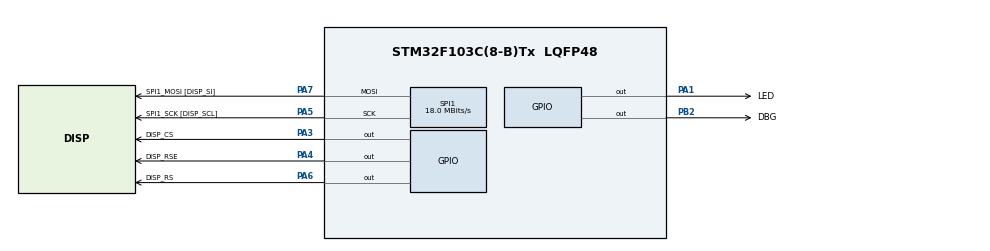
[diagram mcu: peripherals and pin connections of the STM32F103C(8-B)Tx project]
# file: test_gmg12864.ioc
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Mcu.Family=STM32F1
Mcu.Name=STM32F103C(8-B)Tx
Mcu.Package=LQFP48
NVIC.PriorityGroup=NVIC_PRIORITYGROUP_4
PA1.GPIO_Label=LED
PA1.Signal=GPIO_Output
PA13.Mode=Serial_Wire
PA13.Signal=SYS_JTMS-SWDIO
PA14.Mode=Serial_Wire
PA14.Signal=SYS_JTCK-SWCLK
PA3.GPIO_Label=DISP_CS
PA3.Signal=GPIO_Output
PA4.GPIO_Label=DISP_RSE
PA4.Signal=GPIO_Output
PA5.GPIO_Label=SPI1_SCK [DISP_SCL]
PA5.Mode=TX_Only_Simplex_Unidirect_Master
PA5.Signal=SPI1_SCK
PA6.GPIO_Label=DISP_RS
PA6.Signal=GPIO_Output
PA7.GPIO_Label=SPI1_MOSI [DISP_SI]
PA7.Mode=TX_Only_Simplex_Unidirect_Master
PA7.Signal=SPI1_MOSI
PB2.GPIO_Label=DBG
PB2.Signal=GPIO_Output
PD0-OSC_IN.Mode=HSE-External-Oscillator
PD0-OSC_IN.Signal=RCC_OSC_IN
PD1-OSC_OUT.Mode=HSE-External-Oscillator
PD1-OSC_OUT.Signal=RCC_OSC_OUT
ProjectManager.HeapSize=0x200
ProjectManager.StackSize=0x400
ProjectManager.TargetToolchain=Makefile
RCC.AHBFreq_Value=72000000
RCC.APB1CLKDivider=RCC_HCLK_DIV2
RCC.APB1Freq_Value=36000000
RCC.APB1TimFreq_Value=72000000
RCC.APB2Freq_Value=72000000
RCC.APB2TimFreq_Value=72000000
RCC.HCLKFreq_Value=72000000
RCC.PLLMUL=RCC_PLL_MUL9
RCC.PLLSourceVirtual=RCC_PLLSOURCE_HSE
RCC.SYSCLKFreq_VALUE=72000000
RCC.SYSCLKSource=RCC_SYSCLKSOURCE_PLLCLK
RCC.USBFreq_Value=72000000
SPI1.BaudRatePrescaler=SPI_BAUDRATEPRESCALER_4
SPI1.CalculateBaudRate=18.0 MBits/s
SPI1.Direction=SPI_DIRECTION_2LINES
SPI1.Mode=SPI_MODE_MASTER
SPI1.VirtualType=VM_MASTER
TIM1.Period=65535
TIM1.Prescaler=71
VP_TIM1_VS_ClockSourceINT.Mode=Internal
board=custom

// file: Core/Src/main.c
/* USER CODE BEGIN Header */
/**
  ******************************************************************************
  * @file           : main.c
  * @brief          : Main program body
  ******************************************************************************
  * @attention
  *
  * Copyright (c) 2022 STMicroelectronics.
  * All rights reserved.
  *
  * This software is licensed under terms that can be found in the LICENSE file
  * in the root directory of this software component.
  * If no LICENSE file comes with this software, it is provided AS-IS.
  *
  ******************************************************************************
  */
/* USER CODE END Header */
#include "main.h"
#include "spi.h"
#include "tim.h"
#include "gpio.h"

/* USER CODE BEGIN Includes */
#include <stdio.h>
#include <stdlib.h>
#include <stdbool.h>
#include <string.h>

#include "display_gmg12864.h"
#include "lvgl.h"

/* USER CODE END Includes */

/* USER CODE BEGIN PD */
#define BIT_SET(a,b) ((a) |= (1U<<(b)))
#define BIT_CLEAR(a,b) ((a) &= ~(1U<<(b)))
#define MAX(X,Y) ((X)>(Y)?(X):(Y))
#define MIN(X,Y) ((X)<(Y)?(X):(Y))
#define ARRAY_SIZE(X) (sizeof(X)/sizeof(X[0]))

LV_IMG_DECLARE(logo_lvgl)
LV_IMG_DECLARE(ezgif)

#define LL_GPIO_WriteOutputPin(PORT,PIN,VALUE) do{if(VALUE) LL_GPIO_SetOutputPin(PORT,PIN); else LL_GPIO_ResetOutputPin(PORT,PIN);}while(0)
/* USER CODE END PD */

void SystemClock_Config(void);
/* USER CODE BEGIN PFP */
uint32_t timer_global_1ms = 0;
static uint8_t disp_bfr[DISP_WIDTH * DISP_HEIGHT / 8];

uint32_t timer_period_delta(uint32_t *timer, uint32_t period_ms)
{
  uint32_t timer_1ms = timer_global_1ms;
  uint32_t delta = (timer_1ms - *timer);
  if (delta >= period_ms)
  {
    *timer = timer_1ms;
    return delta;
  }
  return 0;
}
uint16_t timer_us_reset(void)
{
  uint16_t result = TIM1->CNT;
  TIM1->CNT = 0;
  return result;
}

static void disp_write_spi_cb(uint8_t * bfr, uint16_t length)
{
  LL_GPIO_ResetOutputPin(DISP_CS_GPIO_Port, DISP_CS_Pin);
  while (length--)
  {
    while (LL_SPI_IsActiveFlag_BSY(SPI1));
    LL_SPI_TransmitData8(SPI1, *bfr++);
  }
  while (LL_SPI_IsActiveFlag_BSY(SPI1));
  LL_GPIO_SetOutputPin(DISP_CS_GPIO_Port, DISP_CS_Pin);
}

static void disp_set_pin_cb(display_gmg12864_pins_t * pins)
{
  LL_GPIO_WriteOutputPin(DISP_RSE_GPIO_Port, DISP_RSE_Pin, pins->pin_reset ? 1 : 0 );
  LL_GPIO_WriteOutputPin(DISP_RS_GPIO_Port, DISP_RS_Pin, pins->pin_data_cmd ? 1 : 0 );
}

void disp_draw_pixel(uint8_t x, uint8_t y, uint8_t color)
{
  uint8_t *byte = &disp_bfr[(x % DISP_WIDTH) + (y % DISP_HEIGHT)/8*DISP_WIDTH];
  if (color)
    *byte |= 1 << (y&7);
  else
    *byte &= ~(1 << (y&7));
}

/* USER CODE END PFP */

/* USER CODE BEGIN 0 */

/* Display flushing */
void my_disp_flush_cb( struct _lv_disp_drv_t * disp_drv, const lv_area_t * area, lv_color_t * color_p)
{
  for(uint8_t y = area->y1; y <= area->y2; y++)
      for(uint8_t x = area->x1; x <= area->x2; x++)
          disp_draw_pixel(x, y, *(uint8_t*)color_p++);

  /* Inform the graphics library that you are ready with the flushing*/
  lv_disp_flush_ready( disp_drv );
}

void lvgl_init(void)
{
  lv_init();

  /*A static or global variable to store the buffers*/
  static lv_disp_draw_buf_t disp_buf;

  /*Static or global buffer(s). The second buffer is optional*/
  static lv_color_t buf_1[DISP_WIDTH * DISP_HEIGHT / 4];

  lv_disp_draw_buf_init(&disp_buf, buf_1, NULL, ARRAY_SIZE(buf_1));

  static lv_disp_drv_t disp_drv;        /*A variable to hold the drivers. Must be static or global.*/
  lv_disp_drv_init(&disp_drv);          /*Basic initialization*/
  disp_drv.draw_buf = &disp_buf;        /*Set an initialized buffer*/
  disp_drv.flush_cb = my_disp_flush_cb; /*Set a flush callback to draw to the display*/
  disp_drv.hor_res = DISP_WIDTH;        /*Set the horizontal resolution in pixels*/
  disp_drv.ver_res = DISP_HEIGHT;       /*Set the vertical resolution in pixels*/

  lv_disp_t * disp;
  disp = lv_disp_drv_register(&disp_drv); /*Register the driver and save the created display objects*/
  (void)disp;
}
/* USER CODE END 0 */

int main(void)
{

  /* MCU Configuration--------------------------------------------------------*/

  /* Reset of all peripherals, Initializes the Flash interface and the Systick. */
  LL_APB2_GRP1_EnableClock(LL_APB2_GRP1_PERIPH_AFIO);
  LL_APB1_GRP1_EnableClock(LL_APB1_GRP1_PERIPH_PWR);

  /* System interrupt init*/
  NVIC_SetPriorityGrouping(NVIC_PRIORITYGROUP_4);

  /* SysTick_IRQn interrupt configuration */
  NVIC_SetPriority(SysTick_IRQn, NVIC_EncodePriority(NVIC_GetPriorityGrouping(),15, 0));

  /** NOJTAG: JTAG-DP Disabled and SW-DP Enabled
  */
  LL_GPIO_AF_Remap_SWJ_NOJTAG();

  /* Configure the system clock */
  SystemClock_Config();

  /* USER CODE BEGIN SysInit */
  LL_SYSTICK_EnableIT();
  /* USER CODE END SysInit */

  /* Initialize all configured peripherals */
  MX_GPIO_Init();
  MX_SPI1_Init();
  MX_TIM1_Init();
  /* USER CODE BEGIN 2 */
  LL_SPI_Enable(SPI1);
  // timer 1us
  uint16_t pre = (SystemCoreClock / 1000000UL)-1;
  LL_TIM_SetPrescaler(TIM1, pre);
  LL_TIM_EnableCounter(TIM1);

  // init graphic-driver
  lvgl_init();

  // init display-driver
  static display_gmg12864_t disp_drv = {
    .delay_ms_cb = LL_mDelay,
    .write_spi_cb = disp_write_spi_cb,
    .set_display_pin_cb = disp_set_pin_cb,
    .bfr = disp_bfr,
    .bfr_size = sizeof(disp_bfr)
  };
  display_gmg12864_init(&disp_drv);
  /* USER CODE END 2 */

  /* Infinite loop */
  /* USER CODE BEGIN WHILE */
  uint32_t tmr_led=0, tmr_lvgl=0, tmr_1s=0;
  short tmr_max=0, tmr_maxt=0;
  short pos_x=0, dx=3;

  lv_obj_t *label, *img1, *gif1;
  label = lv_label_create(lv_scr_act());
  lv_obj_align(label, LV_ALIGN_TOP_LEFT, 3, 3);

  img1 = lv_img_create(lv_scr_act());
  lv_img_set_src(img1, &logo_lvgl);
  lv_obj_align(img1, LV_ALIGN_CENTER, 0, 0);

  gif1 = lv_gif_create(lv_scr_act());
  lv_gif_set_src(gif1, &ezgif);
  lv_obj_align(gif1, LV_ALIGN_LEFT_MID, 2, 0);

  while (1)
  {
    short tmr = timer_us_reset();
    tmr_maxt = MAX(tmr_maxt, tmr);

    lv_tick_inc(timer_period_delta(&tmr_lvgl, 10));
    lv_task_handler();
    display_gmg12864_print(); // ~700us

    if (timer_period_delta(&tmr_led, 200))
    {
      LL_GPIO_TogglePin(LED_GPIO_Port, LED_Pin);

      // update label-text
      lv_label_set_text_fmt(label, "max=%dus", tmr_max);

      // move box
      pos_x += dx;
      if (pos_x < -5 || pos_x > 30) dx = -dx;

      lv_obj_set_pos(img1, pos_x, 0);
    }

    if (timer_period_delta(&tmr_1s, 1000))
    {
      tmr_max = tmr_maxt;
      tmr_maxt = 0;
    }
    /* USER CODE END WHILE */

  }
}

void SystemClock_Config(void)
{
  LL_FLASH_SetLatency(LL_FLASH_LATENCY_2);
  while(LL_FLASH_GetLatency()!= LL_FLASH_LATENCY_2)
  {
  }
  LL_RCC_HSE_Enable();

   /* Wait till HSE is ready */
  while(LL_RCC_HSE_IsReady() != 1)
  {

  }
  LL_RCC_PLL_ConfigDomain_SYS(LL_RCC_PLLSOURCE_HSE_DIV_1, LL_RCC_PLL_MUL_9);
  LL_RCC_PLL_Enable();

   /* Wait till PLL is ready */
  while(LL_RCC_PLL_IsReady() != 1)
  {

  }
  LL_RCC_SetAHBPrescaler(LL_RCC_SYSCLK_DIV_1);
  LL_RCC_SetAPB1Prescaler(LL_RCC_APB1_DIV_2);
  LL_RCC_SetAPB2Prescaler(LL_RCC_APB2_DIV_1);
  LL_RCC_SetSysClkSource(LL_RCC_SYS_CLKSOURCE_PLL);

   /* Wait till System clock is ready */
  while(LL_RCC_GetSysClkSource() != LL_RCC_SYS_CLKSOURCE_STATUS_PLL)
  {

  }
  LL_Init1msTick(72000000);
  LL_SetSystemCoreClock(72000000);
}

void Error_Handler(void)
{
  __disable_irq();
  while (1)
  {
  }
}
